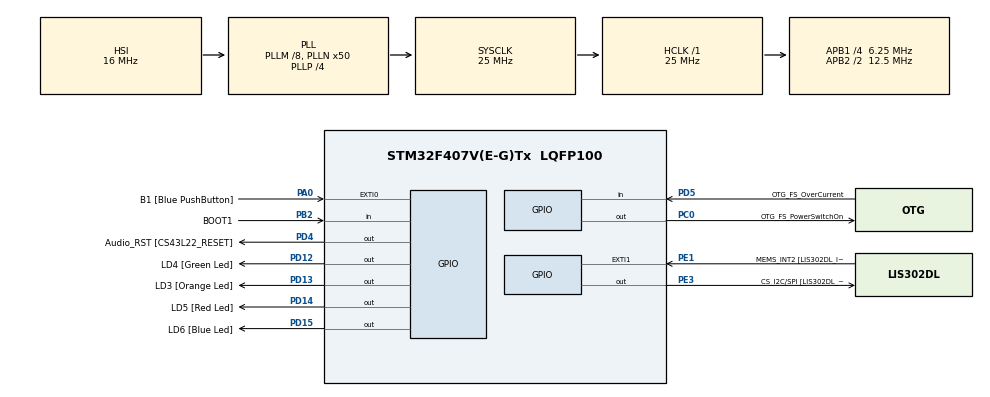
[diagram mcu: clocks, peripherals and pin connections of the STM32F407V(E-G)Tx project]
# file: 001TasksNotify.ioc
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Mcu.Family=STM32F4
Mcu.Name=STM32F407V(E-G)Tx
Mcu.Package=LQFP100
NVIC.PriorityGroup=NVIC_PRIORITYGROUP_4
NVIC.TIM6_DAC_IRQn=true\:15\:0\:false\:false\:true\:false\:true\:true
NVIC.TimeBase=TIM6_DAC_IRQn
NVIC.TimeBaseIP=TIM6
PA0-WKUP.GPIO_Label=B1 [Blue PushButton]
PA0-WKUP.Signal=GPXTI0
PA10.GPIO_Label=OTG_FS_ID
PA10.GPIO_Mode=GPIO_MODE_AF_PP
PA10.GPIO_PuPd=GPIO_NOPULL
PA10.GPIO_Speed=GPIO_SPEED_FREQ_LOW
PA10.Signal=USB_OTG_FS_ID
PA11.GPIO_Label=OTG_FS_DM
PA11.GPIO_Mode=GPIO_MODE_AF_PP
PA11.GPIO_PuPd=GPIO_NOPULL
PA11.GPIO_Speed=GPIO_SPEED_FREQ_LOW
PA11.Signal=USB_OTG_FS_DM
PA12.GPIO_Label=OTG_FS_DP
PA12.GPIO_Mode=GPIO_MODE_AF_PP
PA12.GPIO_PuPd=GPIO_NOPULL
PA12.GPIO_Speed=GPIO_SPEED_FREQ_LOW
PA12.Signal=USB_OTG_FS_DP
PA13.GPIO_Label=SWDIO
PA13.Signal=SYS_JTMS-SWDIO
PA14.GPIO_Label=SWCLK
PA14.Signal=SYS_JTCK-SWCLK
PA4.GPIO_Label=I2S3_WS [CS43L22_LRCK]
PA4.GPIO_Mode=GPIO_MODE_AF_PP
PA4.GPIO_PuPd=GPIO_NOPULL
PA4.GPIO_Speed=GPIO_SPEED_FREQ_LOW
PA4.Signal=I2S3_WS
PA5.GPIO_Label=SPI1_SCK [LIS302DL_SCL/SPC]
PA5.GPIO_Mode=GPIO_MODE_AF_PP
PA5.GPIO_PuPd=GPIO_NOPULL
PA5.GPIO_Speed=GPIO_SPEED_FREQ_LOW
PA5.Signal=SPI1_SCK
PA6.GPIO_Label=SPI1_MISO [LIS302DL_SDO]
PA6.GPIO_Mode=GPIO_MODE_AF_PP
PA6.GPIO_PuPd=GPIO_NOPULL
PA6.GPIO_Speed=GPIO_SPEED_FREQ_LOW
PA6.Signal=SPI1_MISO
PA7.GPIO_Label=SPI1_MOSI [LIS302DL_SDA/SDI/SDO]
PA7.GPIO_Mode=GPIO_MODE_AF_PP
PA7.GPIO_PuPd=GPIO_NOPULL
PA7.GPIO_Speed=GPIO_SPEED_FREQ_LOW
PA7.Signal=SPI1_MOSI
PA9.GPIO_Label=VBUS_FS
PA9.GPIO_Mode=GPIO_MODE_INPUT
PA9.GPIO_PuPd=GPIO_NOPULL
PA9.Signal=USB_OTG_FS_VBUS
PB10.GPIO_Label=CLK_IN [MP45DT02_CLK]
PB10.GPIO_Mode=GPIO_MODE_AF_PP
PB10.GPIO_PuPd=GPIO_NOPULL
PB10.GPIO_Speed=GPIO_SPEED_FREQ_LOW
PB10.Signal=I2S2_CK
PB2.GPIO_Label=BOOT1
PB2.GPIO_Mode=GPIO_MODE_INPUT
PB2.GPIO_PuPd=GPIO_NOPULL
PB2.Signal=GPIO_Input
PB3.GPIO_Label=SWO
PB3.Signal=SYS_JTDO-SWO
PB6.GPIO_Label=Audio_SCL [CS43L22_SCL]
PB6.GPIO_Mode=GPIO_MODE_AF_OD
PB6.GPIO_PuPd=GPIO_NOPULL
PB6.GPIO_Speed=GPIO_SPEED_FREQ_LOW
PB6.Signal=I2C1_SCL
PB9.GPIO_Label=Audio_SDA [CS43L22_SDA]
PB9.GPIO_Mode=GPIO_MODE_AF_OD
PB9.GPIO_PuPd=GPIO_NOPULL
PB9.GPIO_Speed=GPIO_SPEED_FREQ_LOW
PB9.Signal=I2C1_SDA
PC0.GPIO_Label=OTG_FS_PowerSwitchOn
PC0.GPIO_PuPd=GPIO_NOPULL
PC0.GPIO_Speed=GPIO_SPEED_FREQ_LOW
PC0.PinState=GPIO_PIN_SET
PC0.Signal=GPIO_Output
PC10.GPIO_Label=I2S3_SCK [CS43L22_SCLK]
PC10.GPIO_Mode=GPIO_MODE_AF_PP
PC10.GPIO_PuPd=GPIO_NOPULL
PC10.GPIO_Speed=GPIO_SPEED_FREQ_LOW
PC10.Signal=I2S3_CK
PC12.GPIO_Label=I2S3_SD [CS43L22_SDIN]
PC12.GPIO_Mode=GPIO_MODE_AF_PP
PC12.GPIO_PuPd=GPIO_NOPULL
PC12.GPIO_Speed=GPIO_SPEED_FREQ_LOW
PC12.Signal=I2S3_SD
PC14-OSC32_IN.GPIO_Label=PC14-OSC32_IN
PC14-OSC32_IN.Signal=RCC_OSC32_IN
PC15-OSC32_OUT.GPIO_Label=PC15-OSC32_OUT
PC15-OSC32_OUT.Signal=RCC_OSC32_OUT
PC3.GPIO_Label=PDM_OUT [MP45DT02_DOUT]
PC3.GPIO_Mode=GPIO_MODE_AF_PP
PC3.GPIO_PuPd=GPIO_NOPULL
PC3.GPIO_Speed=GPIO_SPEED_FREQ_LOW
PC3.Signal=I2S2_SD
PC7.GPIO_Label=I2S3_MCK [CS43L22_MCLK]
PC7.GPIO_Mode=GPIO_MODE_AF_PP
PC7.GPIO_PuPd=GPIO_NOPULL
PC7.GPIO_Speed=GPIO_SPEED_FREQ_LOW
PC7.Signal=I2S3_MCK
PD12.GPIO_Label=LD4 [Green Led]
PD12.GPIO_PuPd=GPIO_NOPULL
PD12.GPIO_Speed=GPIO_SPEED_FREQ_LOW
PD12.Signal=GPIO_Output
PD13.GPIO_Label=LD3 [Orange Led]
PD13.GPIO_PuPd=GPIO_NOPULL
PD13.GPIO_Speed=GPIO_SPEED_FREQ_LOW
PD13.Signal=GPIO_Output
PD14.GPIO_Label=LD5 [Red Led]
PD14.GPIO_PuPd=GPIO_NOPULL
PD14.GPIO_Speed=GPIO_SPEED_FREQ_LOW
PD14.Signal=GPIO_Output
PD15.GPIO_Label=LD6 [Blue Led]
PD15.GPIO_PuPd=GPIO_NOPULL
PD15.GPIO_Speed=GPIO_SPEED_FREQ_LOW
PD15.Signal=GPIO_Output
PD4.GPIO_Label=Audio_RST [CS43L22_RESET]
PD4.GPIO_PuPd=GPIO_NOPULL
PD4.GPIO_Speed=GPIO_SPEED_FREQ_LOW
PD4.Signal=GPIO_Output
PD5.GPIO_Label=OTG_FS_OverCurrent
PD5.GPIO_Mode=GPIO_MODE_INPUT
PD5.GPIO_PuPd=GPIO_NOPULL
PD5.Signal=GPIO_Input
PE1.GPIO_Label=MEMS_INT2 [LIS302DL_INT2]
PE1.GPIO_ModeDefaultEXTI=GPIO_MODE_EVT_RISING
PE1.GPIO_PuPd=GPIO_NOPULL
PE1.Signal=GPXTI1
PE3.GPIO_Label=CS_I2C/SPI [LIS302DL_CS_I2C/SPI]
PE3.GPIO_PuPd=GPIO_NOPULL
PE3.GPIO_Speed=GPIO_SPEED_FREQ_LOW
PE3.Signal=GPIO_Output
PH0-OSC_IN.GPIO_Label=PH0-OSC_IN
PH0-OSC_IN.Signal=RCC_OSC_IN
PH1-OSC_OUT.GPIO_Label=PH1-OSC_OUT
PH1-OSC_OUT.Signal=RCC_OSC_OUT
ProjectManager.HeapSize=0x200
ProjectManager.StackSize=0x400
ProjectManager.TargetToolchain=STM32CubeIDE
RCC.48MHZClocksFreq_Value=14285714.285714285
RCC.AHBFreq_Value=25000000
RCC.APB1CLKDivider=RCC_HCLK_DIV4
RCC.APB1Freq_Value=6250000
RCC.APB1TimFreq_Value=12500000
RCC.APB2CLKDivider=RCC_HCLK_DIV2
RCC.APB2Freq_Value=12500000
RCC.APB2TimFreq_Value=25000000
RCC.CortexFreq_Value=25000000
RCC.HCLKFreq_Value=25000000
RCC.HSE_VALUE=8000000
RCC.HSI_VALUE=16000000
RCC.LSE_VALUE=32768
RCC.PLLM=8
RCC.PLLN=50
RCC.PLLP=RCC_PLLP_DIV4
RCC.PLLQ=7
RCC.SYSCLKFreq_VALUE=25000000
RCC.SYSCLKSource=RCC_SYSCLKSOURCE_PLLCLK
RCC.VCOOutputFreq_Value=100000000
VP_SYS_VS_tim6.Mode=TIM6
board=STM32F407G-DISC1

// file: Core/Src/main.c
/* USER CODE BEGIN Header */
/**
  ******************************************************************************
  * @file           : main.c
  * @brief          : Main program body
  ******************************************************************************
  * @attention
  *
  * Copyright (c) 2023 STMicroelectronics.
  * All rights reserved.
  *
  * This software is licensed under terms that can be found in the LICENSE file
  * in the root directory of this software component.
  * If no LICENSE file comes with this software, it is provided AS-IS.
  *
  ******************************************************************************
  */
/* USER CODE END Header */
#include "main.h"

/* USER CODE BEGIN Includes */
#include <stdio.h>

#include "../../ThirdParty/FreeRTOS/include/FreeRTOS.h"
#include "../../ThirdParty/FreeRTOS/include/task.h"
/* USER CODE END Includes */

/* USER CODE BEGIN PD */
static void led_green_handler(void* parameters);
static void led_red_handler(void* parameters);
static void led_orange_handler(void* parameters);
static void button_handler(void* parameters);
/* USER CODE END PD */

/* USER CODE BEGIN PV */
#define DWT_CTRL	(*(volatile uint32_t*)0xE0001000)

/* USER CODE END PV */

void SystemClock_Config(void);
static void MX_GPIO_Init(void);

/* USER CODE BEGIN 0 */
TaskHandle_t ledg_task_handle;
TaskHandle_t ledd_task_handle;
TaskHandle_t ledo_task_handle;

TaskHandle_t btn_task_handle;

TaskHandle_t volatile next_task_handle;
/* USER CODE END 0 */

int main(void)
{
  /* USER CODE BEGIN 1 */

	BaseType_t status;
  /* USER CODE END 1 */

  /* MCU Configuration--------------------------------------------------------*/

  /* Reset of all peripherals, Initializes the Flash interface and the Systick. */
  HAL_Init();

  /* Configure the system clock */
  SystemClock_Config();

  /* Initialize all configured peripherals */
  MX_GPIO_Init();
  /* USER CODE BEGIN 2 */

  DWT_CTRL |= (1 << 0);

  SEGGER_SYSVIEW_Conf();
  SEGGER_SYSVIEW_Start();

  status = xTaskCreate(led_green_handler, "led-green-task", 200, NULL, 3, &ledg_task_handle);

  configASSERT(status == pdPASS);

  next_task_handle = ledg_task_handle;

  status = xTaskCreate(led_red_handler, "led-red-handler", 200, NULL, 2, &ledd_task_handle);

  configASSERT(status == pdPASS);

  status = xTaskCreate(led_orange_handler, "led-orange-handler", 200, NULL, 1, &ledo_task_handle);

  configASSERT(status == pdPASS);

  status = xTaskCreate(button_handler, "Button Task", 200, NULL, 4, &btn_task_handle);

  configASSERT(status == pdPASS);

  //start the freeRTOS scheduler
  vTaskStartScheduler();

  /* USER CODE END 2 */

  /* Infinite loop */
  while (1)
  {

  }
}

void SystemClock_Config(void)
{
  RCC_OscInitTypeDef RCC_OscInitStruct = {0};
  RCC_ClkInitTypeDef RCC_ClkInitStruct = {0};

  /** Configure the main internal regulator output voltage
  */
  __HAL_RCC_PWR_CLK_ENABLE();
  __HAL_PWR_VOLTAGESCALING_CONFIG(PWR_REGULATOR_VOLTAGE_SCALE1);

  /** Initializes the RCC Oscillators according to the specified parameters
  * in the RCC_OscInitTypeDef structure.
  */
  RCC_OscInitStruct.OscillatorType = RCC_OSCILLATORTYPE_HSI;
  RCC_OscInitStruct.HSIState = RCC_HSI_ON;
  RCC_OscInitStruct.HSICalibrationValue = RCC_HSICALIBRATION_DEFAULT;
  RCC_OscInitStruct.PLL.PLLState = RCC_PLL_ON;
  RCC_OscInitStruct.PLL.PLLSource = RCC_PLLSOURCE_HSI;
  RCC_OscInitStruct.PLL.PLLM = 8;
  RCC_OscInitStruct.PLL.PLLN = 50;
  RCC_OscInitStruct.PLL.PLLP = RCC_PLLP_DIV4;
  RCC_OscInitStruct.PLL.PLLQ = 7;
  if (HAL_RCC_OscConfig(&RCC_OscInitStruct) != HAL_OK)
  {
    Error_Handler();
  }

  /** Initializes the CPU, AHB and APB buses clocks
  */
  RCC_ClkInitStruct.ClockType = RCC_CLOCKTYPE_HCLK|RCC_CLOCKTYPE_SYSCLK
                              |RCC_CLOCKTYPE_PCLK1|RCC_CLOCKTYPE_PCLK2;
  RCC_ClkInitStruct.SYSCLKSource = RCC_SYSCLKSOURCE_PLLCLK;
  RCC_ClkInitStruct.AHBCLKDivider = RCC_SYSCLK_DIV1;
  RCC_ClkInitStruct.APB1CLKDivider = RCC_HCLK_DIV4;
  RCC_ClkInitStruct.APB2CLKDivider = RCC_HCLK_DIV2;

  if (HAL_RCC_ClockConfig(&RCC_ClkInitStruct, FLASH_LATENCY_0) != HAL_OK)
  {
    Error_Handler();
  }
}

static void MX_GPIO_Init(void)
{
  GPIO_InitTypeDef GPIO_InitStruct = {0};

  /* GPIO Ports Clock Enable */
  __HAL_RCC_GPIOE_CLK_ENABLE();
  __HAL_RCC_GPIOC_CLK_ENABLE();
  __HAL_RCC_GPIOH_CLK_ENABLE();
  __HAL_RCC_GPIOA_CLK_ENABLE();
  __HAL_RCC_GPIOB_CLK_ENABLE();
  __HAL_RCC_GPIOD_CLK_ENABLE();

  /*Configure GPIO pin Output Level */
  HAL_GPIO_WritePin(CS_I2C_SPI_GPIO_Port, CS_I2C_SPI_Pin, GPIO_PIN_RESET);

  /*Configure GPIO pin Output Level */
  HAL_GPIO_WritePin(OTG_FS_PowerSwitchOn_GPIO_Port, OTG_FS_PowerSwitchOn_Pin, GPIO_PIN_SET);

  /*Configure GPIO pin Output Level */
  HAL_GPIO_WritePin(GPIOD, LD4_Pin|LD3_Pin|LD5_Pin|LD6_Pin
                          |Audio_RST_Pin, GPIO_PIN_RESET);

  /*Configure GPIO pin : CS_I2C_SPI_Pin */
  GPIO_InitStruct.Pin = CS_I2C_SPI_Pin;
  GPIO_InitStruct.Mode = GPIO_MODE_OUTPUT_PP;
  GPIO_InitStruct.Pull = GPIO_NOPULL;
  GPIO_InitStruct.Speed = GPIO_SPEED_FREQ_LOW;
  HAL_GPIO_Init(CS_I2C_SPI_GPIO_Port, &GPIO_InitStruct);

  /*Configure GPIO pin : OTG_FS_PowerSwitchOn_Pin */
  GPIO_InitStruct.Pin = OTG_FS_PowerSwitchOn_Pin;
  GPIO_InitStruct.Mode = GPIO_MODE_OUTPUT_PP;
  GPIO_InitStruct.Pull = GPIO_NOPULL;
  GPIO_InitStruct.Speed = GPIO_SPEED_FREQ_LOW;
  HAL_GPIO_Init(OTG_FS_PowerSwitchOn_GPIO_Port, &GPIO_InitStruct);

  /*Configure GPIO pin : PDM_OUT_Pin */
  GPIO_InitStruct.Pin = PDM_OUT_Pin;
  GPIO_InitStruct.Mode = GPIO_MODE_AF_PP;
  GPIO_InitStruct.Pull = GPIO_NOPULL;
  GPIO_InitStruct.Speed = GPIO_SPEED_FREQ_LOW;
  GPIO_InitStruct.Alternate = GPIO_AF5_SPI2;
  HAL_GPIO_Init(PDM_OUT_GPIO_Port, &GPIO_InitStruct);

  /*Configure GPIO pin : B1_Pin */
  GPIO_InitStruct.Pin = B1_Pin;
  GPIO_InitStruct.Mode = GPIO_MODE_IT_RISING;
  GPIO_InitStruct.Pull = GPIO_NOPULL;
  HAL_GPIO_Init(B1_GPIO_Port, &GPIO_InitStruct);

  /*Configure GPIO pin : I2S3_WS_Pin */
  GPIO_InitStruct.Pin = I2S3_WS_Pin;
  GPIO_InitStruct.Mode = GPIO_MODE_AF_PP;
  GPIO_InitStruct.Pull = GPIO_NOPULL;
  GPIO_InitStruct.Speed = GPIO_SPEED_FREQ_LOW;
  GPIO_InitStruct.Alternate = GPIO_AF6_SPI3;
  HAL_GPIO_Init(I2S3_WS_GPIO_Port, &GPIO_InitStruct);

  /*Configure GPIO pins : SPI1_SCK_Pin SPI1_MISO_Pin SPI1_MOSI_Pin */
  GPIO_InitStruct.Pin = SPI1_SCK_Pin|SPI1_MISO_Pin|SPI1_MOSI_Pin;
  GPIO_InitStruct.Mode = GPIO_MODE_AF_PP;
  GPIO_InitStruct.Pull = GPIO_NOPULL;
  GPIO_InitStruct.Speed = GPIO_SPEED_FREQ_LOW;
  GPIO_InitStruct.Alternate = GPIO_AF5_SPI1;
  HAL_GPIO_Init(GPIOA, &GPIO_InitStruct);

  /*Configure GPIO pin : BOOT1_Pin */
  GPIO_InitStruct.Pin = BOOT1_Pin;
  GPIO_InitStruct.Mode = GPIO_MODE_INPUT;
  GPIO_InitStruct.Pull = GPIO_NOPULL;
  HAL_GPIO_Init(BOOT1_GPIO_Port, &GPIO_InitStruct);

  /*Configure GPIO pin : CLK_IN_Pin */
  GPIO_InitStruct.Pin = CLK_IN_Pin;
  GPIO_InitStruct.Mode = GPIO_MODE_AF_PP;
  GPIO_InitStruct.Pull = GPIO_NOPULL;
  GPIO_InitStruct.Speed = GPIO_SPEED_FREQ_LOW;
  GPIO_InitStruct.Alternate = GPIO_AF5_SPI2;
  HAL_GPIO_Init(CLK_IN_GPIO_Port, &GPIO_InitStruct);

  /*Configure GPIO pins : LD4_Pin LD3_Pin LD5_Pin LD6_Pin
                           Audio_RST_Pin */
  GPIO_InitStruct.Pin = LD4_Pin|LD3_Pin|LD5_Pin|LD6_Pin
                          |Audio_RST_Pin;
  GPIO_InitStruct.Mode = GPIO_MODE_OUTPUT_PP;
  GPIO_InitStruct.Pull = GPIO_NOPULL;
  GPIO_InitStruct.Speed = GPIO_SPEED_FREQ_LOW;
  HAL_GPIO_Init(GPIOD, &GPIO_InitStruct);

  /*Configure GPIO pins : I2S3_MCK_Pin I2S3_SCK_Pin I2S3_SD_Pin */
  GPIO_InitStruct.Pin = I2S3_MCK_Pin|I2S3_SCK_Pin|I2S3_SD_Pin;
  GPIO_InitStruct.Mode = GPIO_MODE_AF_PP;
  GPIO_InitStruct.Pull = GPIO_NOPULL;
  GPIO_InitStruct.Speed = GPIO_SPEED_FREQ_LOW;
  GPIO_InitStruct.Alternate = GPIO_AF6_SPI3;
  HAL_GPIO_Init(GPIOC, &GPIO_InitStruct);

  /*Configure GPIO pin : VBUS_FS_Pin */
  GPIO_InitStruct.Pin = VBUS_FS_Pin;
  GPIO_InitStruct.Mode = GPIO_MODE_INPUT;
  GPIO_InitStruct.Pull = GPIO_NOPULL;
  HAL_GPIO_Init(VBUS_FS_GPIO_Port, &GPIO_InitStruct);

  /*Configure GPIO pins : OTG_FS_ID_Pin OTG_FS_DM_Pin OTG_FS_DP_Pin */
  GPIO_InitStruct.Pin = OTG_FS_ID_Pin|OTG_FS_DM_Pin|OTG_FS_DP_Pin;
  GPIO_InitStruct.Mode = GPIO_MODE_AF_PP;
  GPIO_InitStruct.Pull = GPIO_NOPULL;
  GPIO_InitStruct.Speed = GPIO_SPEED_FREQ_LOW;
  GPIO_InitStruct.Alternate = GPIO_AF10_OTG_FS;
  HAL_GPIO_Init(GPIOA, &GPIO_InitStruct);

  /*Configure GPIO pin : OTG_FS_OverCurrent_Pin */
  GPIO_InitStruct.Pin = OTG_FS_OverCurrent_Pin;
  GPIO_InitStruct.Mode = GPIO_MODE_INPUT;
  GPIO_InitStruct.Pull = GPIO_NOPULL;
  HAL_GPIO_Init(OTG_FS_OverCurrent_GPIO_Port, &GPIO_InitStruct);

  /*Configure GPIO pins : Audio_SCL_Pin Audio_SDA_Pin */
  GPIO_InitStruct.Pin = Audio_SCL_Pin|Audio_SDA_Pin;
  GPIO_InitStruct.Mode = GPIO_MODE_AF_OD;
  GPIO_InitStruct.Pull = GPIO_NOPULL;
  GPIO_InitStruct.Speed = GPIO_SPEED_FREQ_LOW;
  GPIO_InitStruct.Alternate = GPIO_AF4_I2C1;
  HAL_GPIO_Init(GPIOB, &GPIO_InitStruct);

  /*Configure GPIO pin : MEMS_INT2_Pin */
  GPIO_InitStruct.Pin = MEMS_INT2_Pin;
  GPIO_InitStruct.Mode = GPIO_MODE_EVT_RISING;
  GPIO_InitStruct.Pull = GPIO_NOPULL;
  HAL_GPIO_Init(MEMS_INT2_GPIO_Port, &GPIO_InitStruct);

}

/* USER CODE BEGIN 4 */
void led_green_handler(void* parameters)
{
	BaseType_t status;
		while(1)
		{
			HAL_GPIO_TogglePin(GPIOD, LED_GREEN_PIN);
			vTaskDelay(pdMS_TO_TICKS(1000));
			status = xTaskNotifyWait(0, 0, NULL, pdMS_TO_TICKS(800));

			if (status == pdTRUE)
			{
				vTaskSuspendAll();
				next_task_handle = ledd_task_handle;
				xTaskResumeAll();
				HAL_GPIO_WritePin(GPIOD, LED_GREEN_PIN, GPIO_PIN_SET);
				vTaskDelete(NULL);
			}
		}

}

void led_red_handler(void* parameters)
{
	BaseType_t status;

	while(1)
	{
		HAL_GPIO_TogglePin(GPIOD, LED_RED_PIN);
		vTaskDelay(pdMS_TO_TICKS(800));
		status = xTaskNotifyWait(0, 0, NULL, pdMS_TO_TICKS(500));

				if (status == pdTRUE)
				{
					vTaskSuspendAll();
					next_task_handle = ledo_task_handle;
					xTaskResumeAll();

					HAL_GPIO_WritePin(GPIOD, LED_RED_PIN, GPIO_PIN_SET);
					vTaskDelete(NULL);
				}
	}

}

void led_orange_handler(void* parameters)
{
	BaseType_t status;

	while(1)
	{
		HAL_GPIO_TogglePin(GPIOD, LED_ORANGE_PIN);
		vTaskDelay(pdMS_TO_TICKS(400));
		status = xTaskNotifyWait(0, 0, NULL, pdMS_TO_TICKS(300));

				if (status == pdTRUE)
				{
					vTaskSuspendAll();
					next_task_handle = NULL;
					xTaskResumeAll();

					HAL_GPIO_WritePin(GPIOD, LED_ORANGE_PIN, GPIO_PIN_SET);
					vTaskDelete(NULL);
					vTaskDelete(btn_task_handle);
				}
	}
}

void button_handler(void* parameters)
{
	uint8_t btn_read = 0;
	uint8_t btn_prev = 0;

	while(1)
	{
		btn_read = HAL_GPIO_ReadPin(GPIOA, GPIO_PIN_0);

		if (btn_read)
		{
			if (!btn_prev)
			{
				xTaskNotify(next_task_handle, 0, eNoAction);
			}
		}

		btn_prev = btn_read;

		vTaskDelay(pdMS_TO_TICKS(10));
	}
}
/* USER CODE END 4 */

void HAL_TIM_PeriodElapsedCallback(TIM_HandleTypeDef *htim)
{
  if (htim->Instance == TIM6) {
    HAL_IncTick();
  }
}

void Error_Handler(void)
{
  __disable_irq();
  while (1)
  {
  }
}
